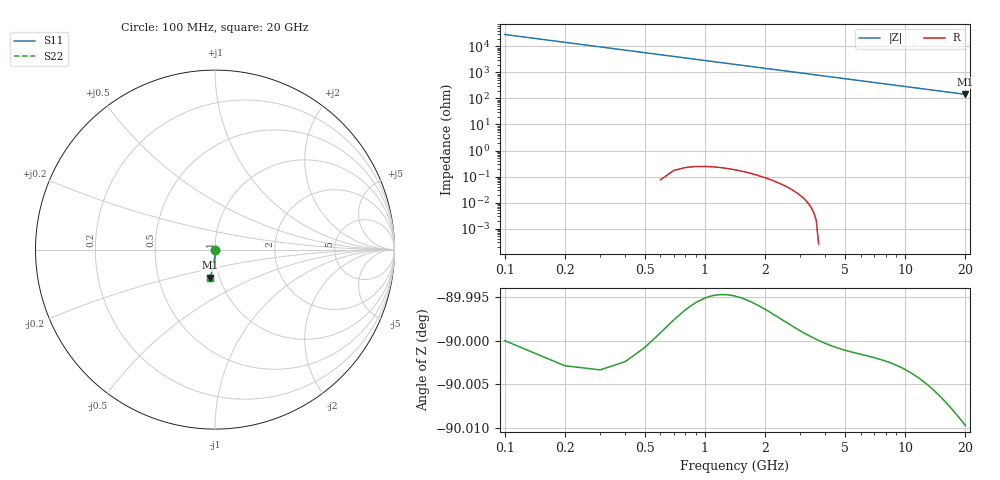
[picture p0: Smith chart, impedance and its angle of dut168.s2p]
! Touchstone file exported from HFSS 2026.1.0
!  File:  C:/ffzhzh/LocalFiles/Ansys_Project_Files/temp_train_TSV_168_1782991028_42984.aedt
!  Generated:  07:18:18 PM Jul  2, 2026
!  Design:  TSV
!  Project:  temp_train_TSV_168_1782991028_42984
! Variables:
!  h_bsmrdl = 2um
!  h_ox = 20um
!  h_rdl = 5um
!  h_sub = 57.46um
!  h_tmrdl = 5um
!  h_tsv = 57.46um
!  h_via = 3um
!  l_bsmrdl = 300um
!  l_sub = 428.64um
!  l_tmrdl = 200um
!  m_sub = 200um
!  pitch = 30.24um
!  r_tsv = 14.32um
!  s_tmrdl = 10um
!  w_bsmrdl = 18um
!  w_sub = 500um
!  w_tmrdl = 12um
!  x_tsv_center1 = 206um
!  x_tsv_center2 = 524um
!  x_tsv_center3 = 736um
!  x_tsv_center4 = 1054um
!  x_tsv_center5 = 1266um
!  x_tsv_center6 = 1584um
# GHz S MA R 50.000000
! Terminal data exported
! Port[1] = TSV1_1_T1
! Port[2] = TSV1_1_T2
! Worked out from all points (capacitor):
!   200 points, 100 MHz to 20 GHz, reference 50 ohm
!   read as one part in shunt: C = 55.4 fF near 200 MHz
!   lowest |Z| = 144 ohm at 20 GHz (marker M1)
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0.1  0.0007535 -84.1  0.9999 -0.1  0.9999 -0.1  0.0007535 -84.1
! Gamma 0 0 0 0
! Port Impedance 50 0 50 0
0.2  0.001508 -86.4  0.9999 -0.1  0.9999 -0.1  0.001508 -86.4
0.3  0.002273 -87.0  0.9999 -0.2  0.9999 -0.2  0.002273 -87.0
0.4  0.003048 -87.3  0.9998 -0.2  0.9998 -0.2  0.003048 -87.3
0.5  0.003832 -87.5  0.9998 -0.3  0.9998 -0.3  0.003832 -87.5
0.7  0.005417 -87.8  0.9997 -0.4  0.9997 -0.4  0.005417 -87.8
0.8  0.006215 -88.0  0.9997 -0.4  0.9997 -0.4  0.006215 -88.0
1  0.007814 -88.4  0.9997 -0.6  0.9997 -0.6  0.007814 -88.4
1.2  0.009415 -88.7  0.9996 -0.7  0.9996 -0.7  0.009415 -88.7
1.4  0.01102 -88.9  0.9996 -0.8  0.9996 -0.8  0.01102 -88.9
1.7  0.01342 -89.3  0.9995 -0.9  0.9995 -0.9  0.01342 -89.3
2  0.01582 -89.6  0.9995 -1.1  0.9995 -1.1  0.01582 -89.6
2.7  0.02142 -90.2  0.9993 -1.5  0.9993 -1.5  0.02142 -90.2
3.5  0.02782 -90.8  0.9991 -1.9  0.9991 -1.9  0.02782 -90.8
4.2  0.03343 -91.3  0.9989 -2.3  0.9989 -2.3  0.03343 -91.3
5  0.03984 -91.8  0.9986 -2.7  0.9986 -2.7  0.03984 -91.8
6.8  0.05427 -92.8  0.9977 -3.7  0.9977 -3.7  0.05427 -92.8
8.3  0.06628 -93.7  0.9969 -4.5  0.9969 -4.5  0.06628 -93.7
10.1  0.08066 -94.7  0.9958 -5.4  0.9958 -5.4  0.08066 -94.7
13.4  0.1069 -96.6  0.9931 -7.2  0.9931 -7.2  0.1069 -96.6
16.7  0.1329 -98.4  0.9898 -8.9  0.9898 -8.9  0.1329 -98.4
20  0.1586 -100.1  0.9859 -10.6  0.9859 -10.6  0.1586 -100.1
